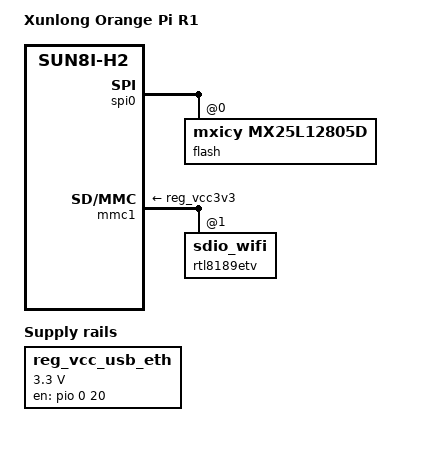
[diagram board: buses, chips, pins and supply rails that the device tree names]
#include "sun8i-h2-plus-orangepi-zero.dts"
/ {
	model = "Xunlong Orange Pi R1";
	compatible = "xunlong,orangepi-r1", "allwinner,sun8i-h2-plus";
	/delete-node/ reg_vcc_wifi;
	reg_vcc_usb_eth: reg-vcc-usb-ethernet {
		compatible = "regulator-fixed";
		regulator-min-microvolt = <3300000>;
		regulator-max-microvolt = <3300000>;
		regulator-name = "vcc-usb-ethernet";
		enable-active-high;
		gpio = <&pio 0 20 GPIO_ACTIVE_HIGH>;
	};
	aliases {
		ethernet1 = &rtl8189etv;
	};
};
&spi0 {
	status = "okay";
	flash@0 {
		compatible = "mxicy,mx25l12805d", "jedec,spi-nor";
	};
};
&ohci1 {
	status = "disabled";
};
&mmc1 {
	vmmc-supply = <&reg_vcc3v3>;
	vqmmc-supply = <&reg_vcc3v3>;
	rtl8189etv: sdio_wifi@1 {
		reg = <1>;
	};
};
&usbphy {
	usb1_vbus-supply = <&reg_vcc_usb_eth>;
};
